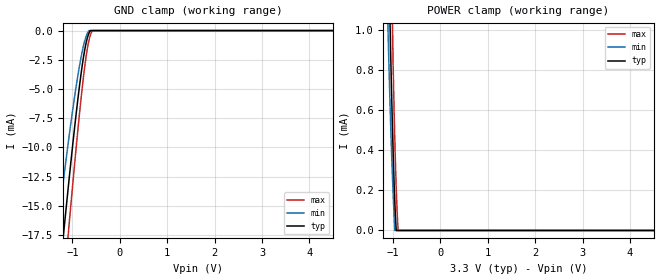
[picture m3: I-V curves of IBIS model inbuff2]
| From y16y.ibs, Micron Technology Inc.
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|   MODEL INBUFF2
[Model]   inbuff2
Model_type   Input
Vinl = 800.000mV
Vinh = 2.000V
|   typ   min   max
C_comp   1.860pF   1.600pF   2.260pF
[Voltage Range]   3.300V   3.000V   3.600V
| Junction Temperature (Ambient temp is 25C typ, 70C min, 0C max)
[Temperature Range]   40.0   85.0   0.0
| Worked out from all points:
|   GND clamp passes 1 mA (typ) near -0.70 V on its own axis
|   POWER clamp passes 1 mA (typ) near -1.06 V on its own axis
[GND Clamp]
|   Voltage   I(typ)   I(min)   I(max)
-3.3V     -389.4mA   -388.7mA   -393mA
-1.31V    -22.65mA   -17.46mA   -27.98mA
-1.23V    -19.31mA   -14.31mA   -24.18mA
-1.17V    -16.85mA   -12.3mA    -21.37mA
-1.07V    -12.84mA   -9.145mA   -16.75mA
-930mV    -7.552mA   -5.097mA   -10.54mA
-810mV    -3.567mA   -2.191mA   -5.635mA
-730mV    -1.493mA   -780.1uA   -2.858mA
-650mV    -238.9uA   0A         -865.9uA
-620mV    0A         0A         NA
-570mV    0A         0A         0A
6.6V      0A         0A         0A
[POWER Clamp]
|   Voltage   I(typ)   I(min)   I(max)
-3.3V     51.11mA    41.29mA    59.21mA
-1.11V    1.656mA    1.073mA    2.518mA
-1.09V    1.396mA    886.4uA    2.184mA
-1.07V    1.15mA     711.8uA    1.864mA
-1.05V    920.8uA    550.4uA    1.56mA
-1.01V    520.1uA    270.5uA    1.01mA
-970mV    208.1uA    53.86uA    554uA
-950mV    88.32uA    0A         368.3uA
-930mV    0A         0A         213.7uA
-910mV    0A         0A         90uA
-890mV    0A         0A         0A
6.6V      0A         0A         0A
